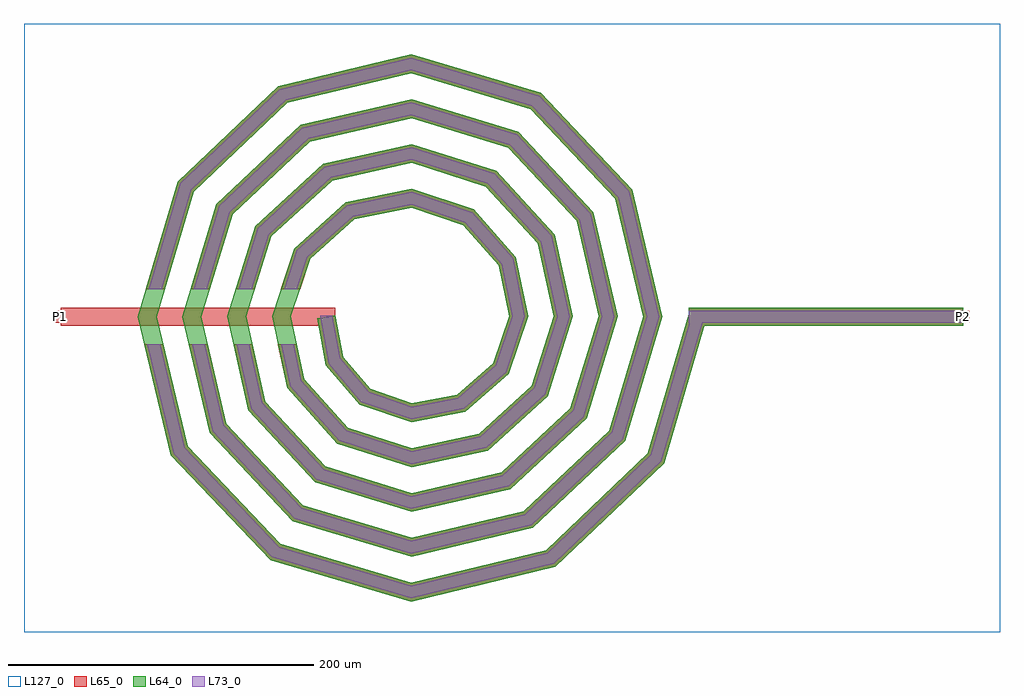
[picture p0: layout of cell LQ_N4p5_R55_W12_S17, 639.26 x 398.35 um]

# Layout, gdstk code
import gdstk
lib = gdstk.Library(unit=1e-6, precision=1e-09)
def R(c, l, rs):  # rectangles x0, y0, x1, y1
    for r in rs: c.add(gdstk.rectangle(r[:2], r[2:], *l))
def P(c, l, *ps):  # polygons
    for p in ps: c.add(gdstk.Polygon(p, *l))
L64_0 = (64, 0)
L65_0 = (65, 0)
L73_0 = (73, 0)
L127_0 = (127, 0)

lq_n4p5_r55_w12_s17 = lib.new_cell('LQ_N4p5_R55_W12_S17')
R(lq_n4p5_r55_w12_s17, L64_0, [(181.631,-6,361.631,6)])
P(lq_n4p5_r55_w12_s17, L64_0, [(-44.687,-26.362),(-26.757,-47.28),(0.449,-56.767),(29.98,-51.062),(53.603,-30.466),(64.098,0.402),(57.432,33.608),(34.167,59.931),(0.365,71.429),(-37.243,63.799),(-66.264,37.861),(-78.761,0.333),(-70.164,-40.883),(-41.552,-72.6),(0.307,-86.093),(44.527,-76.526),(78.938,-45.238),(93.425,0.284),(82.887,48.175),(48.922,85.278),(0.265,100.758),(-51.825,89.246),(-91.619,52.604),(-108.091,0.248),(-95.605,-55.478),(-56.284,-97.962),(0.233,-115.423),(59.132,-101.962),(104.305,-59.962),(122.756,0.22),(108.319,62.787),(63.639,110.65),(0.208,130.089),(-66.444,114.675),(-116.995,67.315),(-137.422,0.197),(-121.031,-70.101),(-70.99,-123.34),(0.188,-144.755),(73.76,-127.386),(129.686,-74.665),(152.088,0.179),(133.741,77.419),(78.338,136.033),(0.171,159.421),(-81.079,140.096),(-142.38,82.011),(-166.755,0.164),(-146.45,-84.739),(-85.684,-148.727),(0.157,-174.088),(88.4,-152.804),(155.075,-89.356),(181.875,1.694),(193.387,-1.694),(165.678,-95.831),(94.342,-163.715),(0.157,-186.508),(-92.169,-159.324),(-157.367,-90.669),(-179.174,0.164),(-152.969,88.509),(-86.997,151.02),(0.171,171.841),(84.848,146.615),(144.673,83.323),(164.507,0.179),(140.26,-81.189),(79.649,-138.326),(0.188,-157.174),(-77.53,-133.904),(-131.979,-75.974),(-149.84,0.197),(-127.548,73.872),(-72.299,125.633),(0.208,142.507),(70.214,121.192),(119.288,68.622),(135.173,0.22),(114.834,-66.558),(64.944,-112.943),(0.233,-127.839),(-62.903,-108.476),(-106.599,-61.265),(-120.506,0.248),(-102.117,59.25),(-57.584,100.256),(0.265,113.172),(55.598,95.757),(93.914,53.901),(105.838,0.284),(89.395,-51.949),(50.215,-87.573),(0.307,-98.503),(-48.302,-83.032),(-81.234,-46.526),(-91.169,0.333),(-76.666,44.659),(-42.834,74.897),(0.365,83.834),(41.02,70.297),(68.562,39.135),(76.499,0.402),(63.924,-37.388),(35.43,-62.231),(0.449,-69.163),(-33.763,-57.545),(-55.904,-31.714),(-61.533,-1.084),(-49.731,1.084)])
R(lq_n4p5_r55_w12_s17, L65_0, [(-229.632,-6,-49.632,6), (181.631,-6,361.631,6), (-233.632,-4,-225.632,4), (357.631,-4,365.631,4)])
P(lq_n4p5_r55_w12_s17, L65_0, [(-146.45,-84.739),(-85.684,-148.727),(0.157,-174.088),(88.4,-152.804),(155.075,-89.356),(181.875,1.694),(193.387,-1.694),(165.678,-95.831),(94.342,-163.715),(0.157,-186.508),(-92.17,-159.324),(-157.367,-90.67),(-174.814,-18),(-162.473,-18)],
  [(-121.031,-70.101),(-70.99,-123.34),(0.188,-144.755),(73.76,-127.386),(129.686,-74.665),(152.088,0.179),(133.741,77.419),(78.338,136.033),(0.171,159.422),(-81.079,140.096),(-142.38,82.011),(-161.367,18),(-173.884,18),(-152.969,88.509),(-86.997,151.02),(0.171,171.841),(84.848,146.615),(144.673,83.323),(164.507,0.179),(140.26,-81.189),(79.649,-138.326),(0.188,-157.174),(-77.53,-133.904),(-131.979,-75.974),(-145.573,-18),(-133.248,-18)],
  [(-95.605,-55.478),(-56.284,-97.962),(0.233,-115.424),(59.132,-101.962),(104.305,-59.962),(122.756,0.22),(108.319,62.787),(63.639,110.65),(0.208,130.089),(-66.444,114.675),(-116.995,67.315),(-131.916,18),(-144.454,18),(-127.548,73.872),(-72.299,125.634),(0.208,142.507),(70.214,121.192),(119.288,68.622),(135.173,0.22),(114.834,-66.558),(64.944,-112.943),(0.233,-127.839),(-62.903,-108.476),(-106.599,-61.265),(-116.38,-18),(-104.077,-18)],
  [(-70.164,-40.883),(-41.552,-72.6),(0.307,-86.093),(44.527,-76.526),(78.938,-45.238),(93.425,0.284),(82.887,48.175),(48.922,85.278),(0.265,100.758),(-51.825,89.246),(-91.619,52.604),(-102.404,18),(-114.973,18),(-102.117,59.25),(-57.584,100.256),(0.265,113.172),(55.598,95.757),(93.914,53.901),(105.838,0.284),(89.395,-51.949),(50.215,-87.573),(0.307,-98.503),(-48.302,-83.032),(-81.234,-46.527),(-87.282,-18),(-75.015,-18)],
  [(-26.757,-47.28),(0.449,-56.767),(29.98,-51.062),(53.603,-30.466),(64.098,0.402),(57.432,33.608),(34.167,59.931),(0.365,71.429),(-37.243,63.799),(-66.264,37.862),(-72.763,18),(-85.389,18),(-76.666,44.659),(-42.834,74.897),(0.365,83.834),(41.021,70.297),(68.562,39.135),(76.499,0.402),(63.924,-37.388),(35.43,-62.231),(0.449,-69.163),(-33.763,-57.545),(-55.904,-31.714),(-61.533,-1.085),(-49.731,1.085),(-44.687,-26.362)])
R(lq_n4p5_r55_w12_s17, L73_0, [(181.631,-4,361.631,4)])
P(lq_n4p5_r55_w12_s17, L73_0, [(-148.269,-85.728),(-86.765,-150.493),(0.105,-176.158),(89.391,-154.622),(156.842,-90.435),(183.794,1.13),(191.468,-1.13),(163.911,-94.752),(93.352,-161.896),(0.105,-184.438),(-91.089,-157.558),(-155.548,-89.681),(-172.757,-18),(-164.529,-18)],
  [(-122.856,-71.08),(-72.08,-125.101),(0.125,-146.825),(74.741,-129.21),(131.449,-75.752),(154.158,0.119),(135.563,78.403),(79.423,137.797),(0.114,161.491),(-82.065,141.916),(-144.145,83.094),(-163.453,18),(-171.798,18),(-151.204,87.426),(-86.01,149.199),(0.114,169.771),(83.763,144.851),(142.851,82.339),(162.437,0.119),(138.497,-80.101),(78.668,-136.503),(0.125,-155.104),(-76.44,-132.144),(-130.155,-74.996),(-143.519,-18),(-135.302,-18)],
  [(-97.437,-56.442),(-57.387,-99.714),(0.155,-117.493),(60.1,-103.793),(106.06,-61.062),(124.826,0.146),(110.147,63.76),(64.735,112.407),(0.139,132.159),(-67.42,116.502),(-118.754,68.408),(-134.006,18),(-142.364,18),(-125.789,72.779),(-71.323,123.807),(0.139,140.437),(69.118,119.435),(117.46,67.65),(133.104,0.146),(113.079,-65.459),(63.976,-111.113),(0.155,-125.77),(-61.8,-106.724),(-104.767,-60.3),(-114.33,-18),(-106.128,-18)],
  [(-72.009,-41.824),(-42.677,-74.338),(0.205,-88.162),(45.475,-78.367),(80.681,-46.357),(95.494,0.189),(84.725,49.129),(50.035,87.024),(0.177,102.827),(-52.785,91.081),(-93.369,53.712),(-104.499,18),(-112.878,18),(-100.368,58.142),(-56.624,98.421),(0.177,111.103),(54.486,94.01),(92.076,52.947),(103.769,0.189),(87.652,-50.83),(49.267,-85.732),(0.205,-96.435),(-47.177,-81.293),(-79.389,-45.586),(-85.238,-18),(-77.06,-18)],
  [(-27.925,-48.991),(0.299,-58.833),(30.888,-52.923),(55.323,-31.62),(66.165,0.268),(59.287,34.529),(35.309,61.659),(0.243,73.497),(-38.174,65.649),(-67.998,38.994),(-74.867,18),(-83.284,18),(-74.932,43.526),(-41.902,73.047),(0.243,81.767),(39.878,68.569),(66.707,38.214),(74.432,0.268),(62.204,-36.234),(34.521,-60.369),(0.299,-67.097),(-32.596,-55.834),(-54.035,-30.822),(-59.566,0.723),(-51.698,0.723),(-46.556,-27.254)])
R(lq_n4p5_r55_w12_s17, L127_0, [(-253.632,-206.508,385.631,191.841)])
lq_n4p5_r55_w12_s17.add(gdstk.Label('P2', (361.631,0), layer=65, texttype=0))
lq_n4p5_r55_w12_s17.add(gdstk.Label('P1', (-229.632,0), layer=65, texttype=0))
lq_n4p5_r55_w12_s17.add(gdstk.Label('P2', (365.631,0), layer=145, texttype=0))
lq_n4p5_r55_w12_s17.add(gdstk.Label('P1', (-233.632,0), layer=145, texttype=0))

lib.write_gds('LQ_N4p5_R55_W12_S17.gds')
